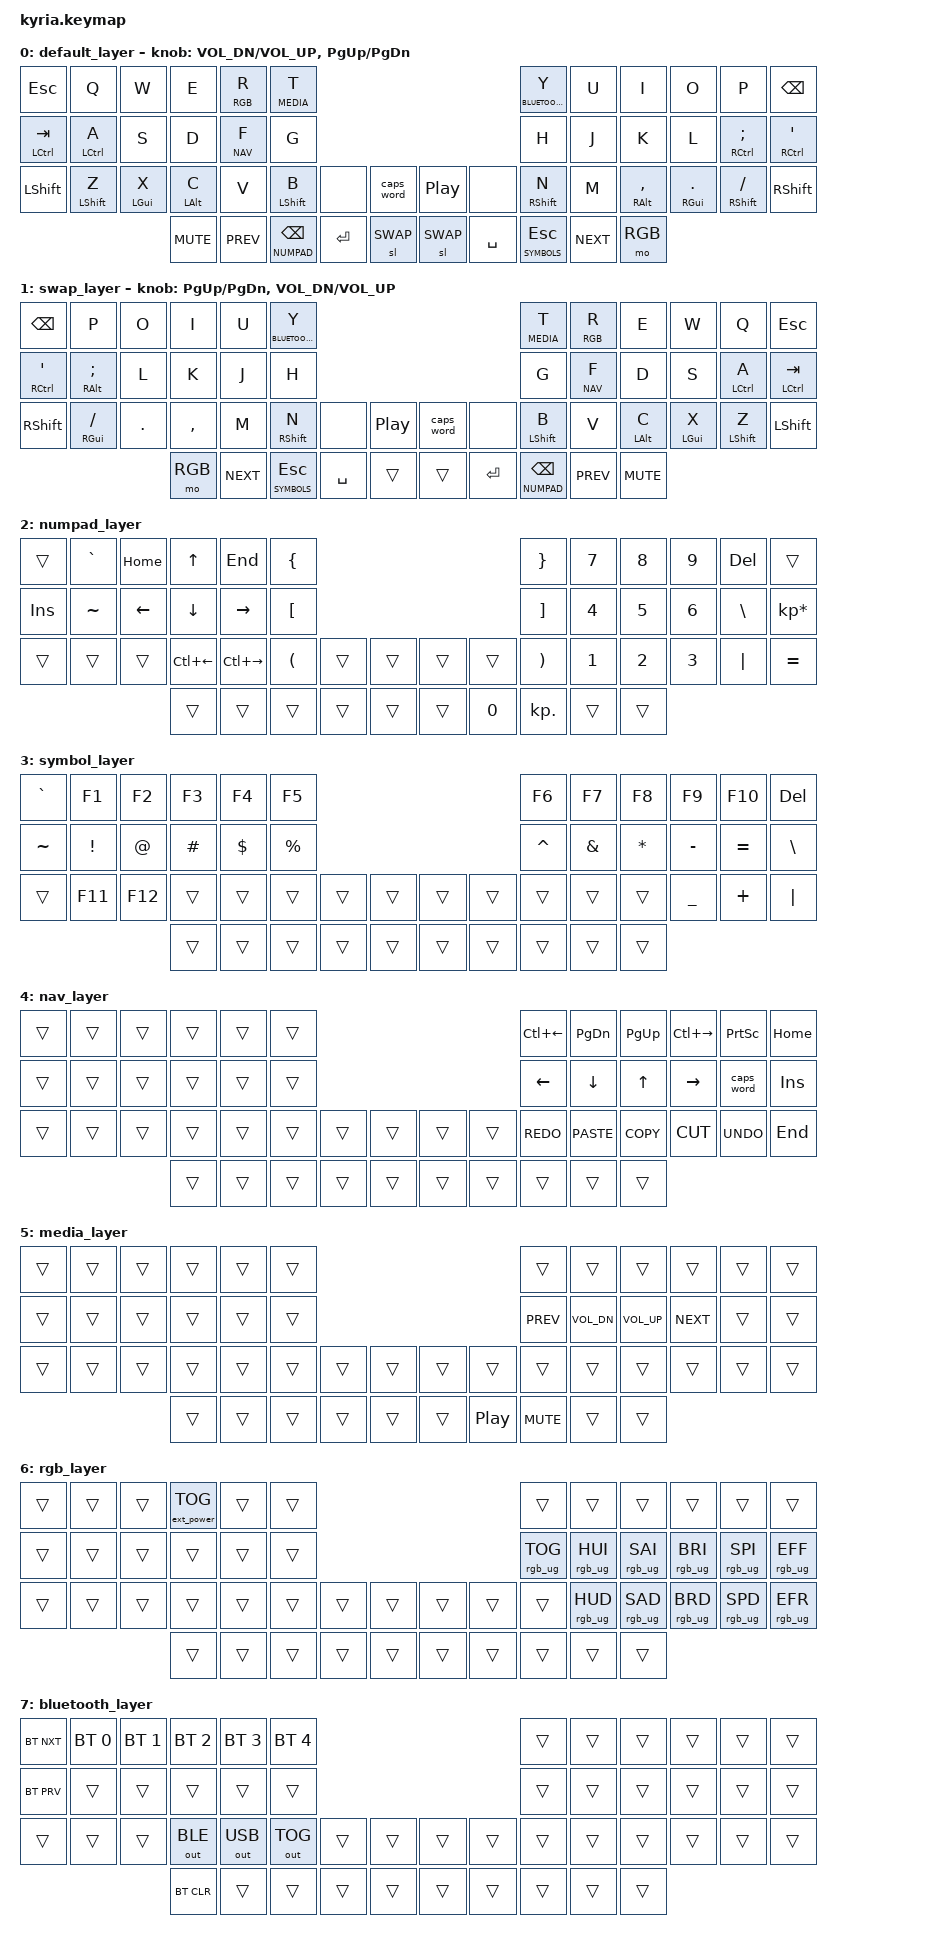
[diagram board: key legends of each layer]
/*
 * Copyright (c) 2020 The ZMK Contributors
 *
 * SPDX-License-Identifier: MIT
 */

#include <../boards/shields/kyria/boards/nice_nano.overlay>
#include <behaviors.dtsi>
#include <dt-bindings/zmk/keys.h>
#include <dt-bindings/zmk/bt.h>
#include <dt-bindings/zmk/ext_power.h>
#include <dt-bindings/zmk/outputs.h>
#include <dt-bindings/zmk/rgb.h>

#define DEFAULT 0
#define SWAP 1
#define NUMPAD 2
#define SYMBOLS 3
#define NAV 4
//#define MOUSE 4
#define MEDIA 5
#define RGB 6
#define BLUETOOTH 7

&left_encoder {
	resolution = <2>;
};

&right_encoder {
	resolution = <2>;
};

&mt {
	flavor = "tap-preferred";
};

&lt {
	flavor = "tap-preferred";
};

/ {
	/*
	ext-power {
		compatible = "zmk,ext-power-generic";
		label = "EXT_POWER";
		control-gpios = <&gpio0 13 GPIO_ACTIVE_HIGH>;
		init-delay-ms = <150>;
	};
	*/

	behaviors {
		mtp: mod_tap_permissive {
			compatible = "zmk,behavior-hold-tap";
			label = "MOD_TAP_PERMISSIVE";
			#binding-cells = <2>;
			flavor = "balanced";
			tapping-term-ms = <200>;
			quick-tap-ms = <0>;
			bindings = <&kp>, <&kp>;
		};
		mto: mod_tap_other_hold {
			compatible = "zmk,behavior-hold-tap";
			label = "MOD_TAP_OTHER_HOLD";
			#binding-cells = <2>;
			flavor = "hold-preferred";
			tapping-term-ms = <200>;
			quick-tap-ms = <0>;
			bindings = <&kp>, <&kp>;
		};
		lto: layer_tap_other_hold {
			compatible = "zmk,behavior-hold-tap";
			label = "LAYER_TAP_OTHER_HOLD";
			#binding-cells = <2>;
			flavor = "hold-preferred";
			tapping-term-ms = <200>;
			quick-tap-ms = <0>;
			bindings = <&mo>, <&kp>;
		};
	};

	keymap {
		compatible = "zmk,keymap";

		default_layer {
			bindings = <
	&kp ESC       &kp Q &kp W &kp E &lt RGB R &lt MEDIA T                                         &lt BLUETOOTH Y &kp U  &kp I     &kp O   &kp P    &kp BSPC
	&mto LCTRL TAB &mt LCTL A &kp S &kp D &lt NAV F &kp G                                               &kp H &kp J  &kp K     &kp L   &mt RCTRL SEMI &mtp RCTRL SQT
	&kp LSHFT &mt LSHFT Z &mt LGUI X &mt LALT C &kp V &mt LSHFT B &none &caps_word   &kp C_PP &none     &mt RSHFT N &kp M  &mt RALT COMMA &mt RGUI DOT &mt RSHFT FSLH &kp RSHFT
	                     &kp C_MUTE &kp C_PREV &lto NUMPAD BSPC &kp RET &sl SWAP     &sl SWAP &kp SPACE &lto SYMBOLS ESC &kp C_NEXT &mo RGB
			>;

			sensor-bindings = <&inc_dec_kp C_VOL_DN C_VOL_UP &inc_dec_kp PG_UP PG_DN>;
		};

		swap_layer {
			bindings = <
	&kp BSPC       &kp P &kp O &kp I &kp U &lt BLUETOOTH Y                                         &mt MEDIA T &mt RGB R  &kp E     &kp W   &kp Q    &kp ESC
	&mtp RCTRL SQT &mt RALT SEMI &kp L &kp K &kp J &kp H                                            &kp G &lt NAV F  &kp D     &kp S   &mt LCTL A &mto LCTRL TAB
	&kp RSHFT &mt RGUI FSLH &kp DOT &kp COMMA &kp M &mt RSHFT N &none &kp C_PP   &caps_word  &none &mt LSHFT B &kp V  &mt LALT C &mt LGUI X &mt LSHFT Z &kp LSHFT
	                     &mo RGB &kp C_NEXT &lto SYMBOLS ESC &kp SPACE &trans         &trans &kp RET    &lto NUMPAD BSPC &kp C_PREV &kp C_MUTE
			>;

			sensor-bindings = <&inc_dec_kp PG_UP PG_DN &inc_dec_kp C_VOL_DN C_VOL_UP>;
		};

		numpad_layer {

			bindings = <
	&trans     &kp GRAVE &kp HOME &kp UP   &kp END   &kp LBRC                                  &kp RBRC &kp N7  &kp N8 &kp N9 &kp DEL &trans
	&kp INSERT &kp TILDE &kp LEFT &kp DOWN &kp RIGHT &kp LBKT                                  &kp RBKT &kp N4  &kp N5 &kp N6 &kp BSLH &kp KP_MULTIPLY
	&trans     &trans &trans &kp LC(LEFT) &kp LC(RIGHT) &kp LPAR &trans &trans   &trans &trans &kp RPAR &kp N1  &kp N2 &kp N3 &kp PIPE  &kp EQUAL
	                         &trans &trans &trans &trans &trans                  &trans  &kp N0 &kp KP_DOT &trans &trans
			>;
		};

		symbol_layer {

			bindings = <
	&kp GRAVE &kp F1 &kp F2 &kp F3 &kp F4 &kp F5                                 &kp F6    &kp F7    &kp F8       &kp F9      &kp F10   &kp DEL
	&kp TILDE &kp EXCL &kp AT &kp HASH &kp DOLLAR &kp PRCNT                      &kp CARET &kp AMPS  &kp STAR     &kp MINUS   &kp EQUAL &kp BSLH
	&trans    &kp F11 &kp F12 &trans &trans &trans &trans &trans   &trans &trans &trans &trans  &trans &kp UNDER &kp PLUS &kp PIPE
	                          &trans &trans &trans &trans &trans   &trans &trans &trans &trans &trans
			>;

		};

		nav_layer {

			bindings = <
	&trans &trans &trans &trans &trans &trans                                &kp LC(LEFT) &kp PG_DN   &kp PG_UP  &kp LC(RIGHT) &kp PSCRN  &kp HOME
	&trans &trans &trans &trans &trans &trans                                &kp LEFT     &kp DOWN    &kp UP     &kp RIGHT     &caps_word &kp INS
	&trans &trans &trans &trans &trans &trans &trans &trans    &trans &trans &kp K_REDO   &kp K_PASTE &kp K_COPY &kp CUT       &kp K_UNDO &kp END
	                     &trans &trans &trans &trans &trans    &trans &trans &trans &trans &trans
			>;

		};

		media_layer {

			bindings = <
	&trans &trans &trans &trans &trans &trans                                &trans &trans &trans &trans &trans &trans
	&trans &trans &trans &trans &trans &trans                                &kp C_PREV &kp C_VOL_DN &kp C_VOL_UP &kp C_NEXT &trans &trans
	&trans &trans &trans &trans &trans &trans &trans &trans    &trans &trans &trans     &trans &trans &trans &trans &trans
	                     &trans &trans &trans &trans &trans    &trans &kp C_PP &kp C_MUTE &trans &trans
			>;

		};

		rgb_layer {
			bindings = <
	&trans &trans &trans &ext_power EP_TOG &trans &trans                     &trans &trans &trans &trans &trans &trans
	&trans &trans &trans &trans &trans &trans                                &rgb_ug RGB_TOG &rgb_ug RGB_HUI &rgb_ug RGB_SAI &rgb_ug RGB_BRI &rgb_ug RGB_SPI &rgb_ug RGB_EFF
	&trans &trans &trans &trans &trans &trans &trans &trans    &trans &trans &trans          &rgb_ug RGB_HUD &rgb_ug RGB_SAD &rgb_ug RGB_BRD &rgb_ug RGB_SPD &rgb_ug RGB_EFR
	                     &trans &trans &trans &trans &trans    &trans &trans &trans &trans &trans
			>;

		};

		bluetooth_layer {

			bindings = <
	&bt BT_NXT &bt BT_SEL 0 &bt BT_SEL 1 &bt BT_SEL 2 &bt BT_SEL 3 &bt BT_SEL 4                    &trans &trans &trans &trans &trans &trans
	&bt BT_PRV &trans &trans &trans &trans &trans                                                  &trans &trans &trans &trans &trans &trans
	&trans     &trans &trans &out OUT_BLE &out OUT_USB &out OUT_TOG &trans &trans    &trans &trans &trans &trans &trans &trans &trans &trans
	                         &bt BT_CLR &trans &trans &trans &trans                  &trans &trans &trans &trans &trans
			>;

		};

	};
};
